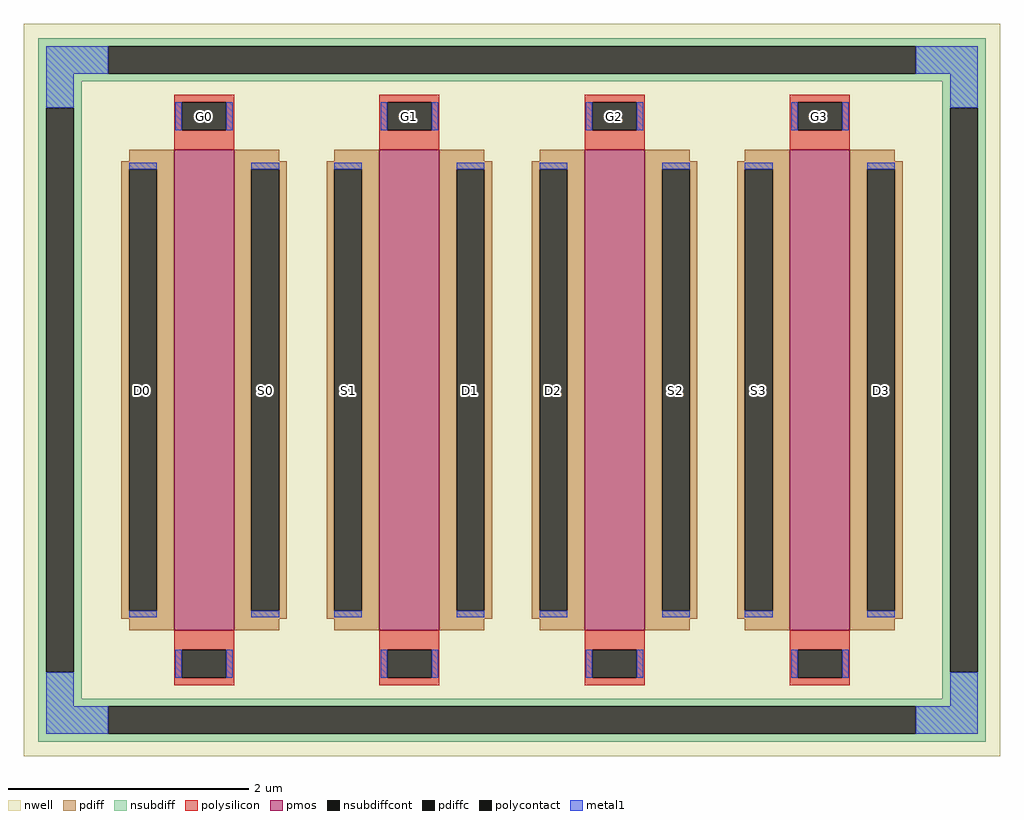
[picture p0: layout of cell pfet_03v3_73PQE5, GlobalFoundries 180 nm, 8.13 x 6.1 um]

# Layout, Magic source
magic
tech gf180mcuD
magscale 1 10
<< nwell >>
rect -813 -610 813 610
<< pmos >>
rect -563 -400 -463 400
rect -221 -400 -121 400
rect 121 -400 221 400
rect 463 -400 563 400
<< pdiff >>
rect -638 381 -563 400
rect -651 368 -563 381
rect -651 -368 -638 368
rect -592 -368 -563 368
rect -651 -381 -563 -368
rect -638 -400 -563 -381
rect -463 381 -388 400
rect -296 381 -221 400
rect -463 368 -375 381
rect -463 -368 -434 368
rect -388 -368 -375 368
rect -463 -381 -375 -368
rect -309 368 -221 381
rect -309 -368 -296 368
rect -250 -368 -221 368
rect -309 -381 -221 -368
rect -463 -400 -388 -381
rect -296 -400 -221 -381
rect -121 381 -46 400
rect 46 381 121 400
rect -121 368 -33 381
rect -121 -368 -92 368
rect -46 -368 -33 368
rect -121 -381 -33 -368
rect 33 368 121 381
rect 33 -368 46 368
rect 92 -368 121 368
rect 33 -381 121 -368
rect -121 -400 -46 -381
rect 46 -400 121 -381
rect 221 381 296 400
rect 388 381 463 400
rect 221 368 309 381
rect 221 -368 250 368
rect 296 -368 309 368
rect 221 -381 309 -368
rect 375 368 463 381
rect 375 -368 388 368
rect 434 -368 463 368
rect 375 -381 463 -368
rect 221 -400 296 -381
rect 388 -400 463 -381
rect 563 381 638 400
rect 563 368 651 381
rect 563 -368 592 368
rect 638 -368 651 368
rect 563 -381 651 -368
rect 563 -400 638 -381
<< pdiffc >>
rect -638 -368 -592 368
rect -434 -368 -388 368
rect -296 -368 -250 368
rect -92 -368 -46 368
rect 46 -368 92 368
rect 250 -368 296 368
rect 388 -368 434 368
rect 592 -368 638 368
<< nsubdiff >>
rect -789 573 789 586
rect -789 527 -673 573
rect 673 527 789 573
rect -789 514 789 527
rect -789 470 -717 514
rect -789 -470 -776 470
rect -730 -470 -717 470
rect 717 470 789 514
rect -789 -514 -717 -470
rect 717 -470 730 470
rect 776 -470 789 470
rect 717 -514 789 -470
rect -789 -527 789 -514
rect -789 -573 -673 -527
rect 673 -573 789 -527
rect -789 -586 789 -573
<< nsubdiffcont >>
rect -673 527 673 573
rect -776 -470 -730 470
rect 730 -470 776 470
rect -673 -573 673 -527
<< polysilicon >>
rect -563 479 -463 492
rect -563 433 -550 479
rect -476 433 -463 479
rect -563 400 -463 433
rect -221 479 -121 492
rect -221 433 -208 479
rect -134 433 -121 479
rect -221 400 -121 433
rect 121 479 221 492
rect 121 433 134 479
rect 208 433 221 479
rect 121 400 221 433
rect 463 479 563 492
rect 463 433 476 479
rect 550 433 563 479
rect 463 400 563 433
rect -563 -433 -463 -400
rect -563 -479 -550 -433
rect -476 -479 -463 -433
rect -563 -492 -463 -479
rect -221 -433 -121 -400
rect -221 -479 -208 -433
rect -134 -479 -121 -433
rect -221 -492 -121 -479
rect 121 -433 221 -400
rect 121 -479 134 -433
rect 208 -479 221 -433
rect 121 -492 221 -479
rect 463 -433 563 -400
rect 463 -479 476 -433
rect 550 -479 563 -433
rect 463 -492 563 -479
<< polycontact >>
rect -550 433 -476 479
rect -208 433 -134 479
rect 134 433 208 479
rect 476 433 550 479
rect -550 -479 -476 -433
rect -208 -479 -134 -433
rect 134 -479 208 -433
rect 476 -479 550 -433
<< metal1 >>
rect -776 527 -673 573
rect 673 527 776 573
rect -776 470 -730 527
rect -561 433 -550 479
rect -476 433 -465 479
rect -219 433 -208 479
rect -134 433 -123 479
rect 123 433 134 479
rect 208 433 219 479
rect 465 433 476 479
rect 550 433 561 479
rect 730 470 776 527
rect -638 368 -592 379
rect -638 -379 -592 -368
rect -434 368 -388 379
rect -434 -379 -388 -368
rect -296 368 -250 379
rect -296 -379 -250 -368
rect -92 368 -46 379
rect -92 -379 -46 -368
rect 46 368 92 379
rect 46 -379 92 -368
rect 250 368 296 379
rect 250 -379 296 -368
rect 388 368 434 379
rect 388 -379 434 -368
rect 592 368 638 379
rect 592 -379 638 -368
rect -776 -527 -730 -470
rect -561 -479 -550 -433
rect -476 -479 -465 -433
rect -219 -479 -208 -433
rect -134 -479 -123 -433
rect 123 -479 134 -433
rect 208 -479 219 -433
rect 465 -479 476 -433
rect 550 -479 561 -433
rect 730 -527 776 -470
rect -776 -573 -673 -527
rect 673 -573 776 -527
<< labels >>
rlabel pdiffc -615 0 -615 0 0 D0
port 1 nsew
rlabel pdiffc -411 0 -411 0 0 S0
port 2 nsew
rlabel polycontact -513 456 -513 456 0 G0
port 3 nsew
rlabel pdiffc -69 0 -69 0 0 D1
port 4 nsew
rlabel pdiffc -273 0 -273 0 0 S1
port 5 nsew
rlabel polycontact -171 456 -171 456 0 G1
port 6 nsew
rlabel pdiffc 69 0 69 0 0 D2
port 7 nsew
rlabel pdiffc 273 0 273 0 0 S2
port 8 nsew
rlabel polycontact 171 456 171 456 0 G2
port 9 nsew
rlabel pdiffc 615 0 615 0 0 D3
port 10 nsew
rlabel pdiffc 411 0 411 0 0 S3
port 11 nsew
rlabel polycontact 513 456 513 456 0 G3
port 12 nsew
<< properties >>
string FIXED_BBOX -753 -550 753 550
string gencell pfet_03v3
string library gf180mcu
string parameters w 4.0 l 0.5 m 1 nf 4 diffcov 95 polycov 100 guard 1 glc 1 grc 1 gtc 1 gbc 1 tbcov 100 rlcov 100 topc 1 botc 1 poverlap 0 doverlap 0 lmin 0.28 wmin 0.22 class mosfet full_metal 1 viasrc 0 viadrn 0 viagate 0 viagb 0 viagr 0 viagl 0 viagt 0 doports 1 compatible {pfet_03v3 pfet_05v0 pfet_06v0}
<< end >>
